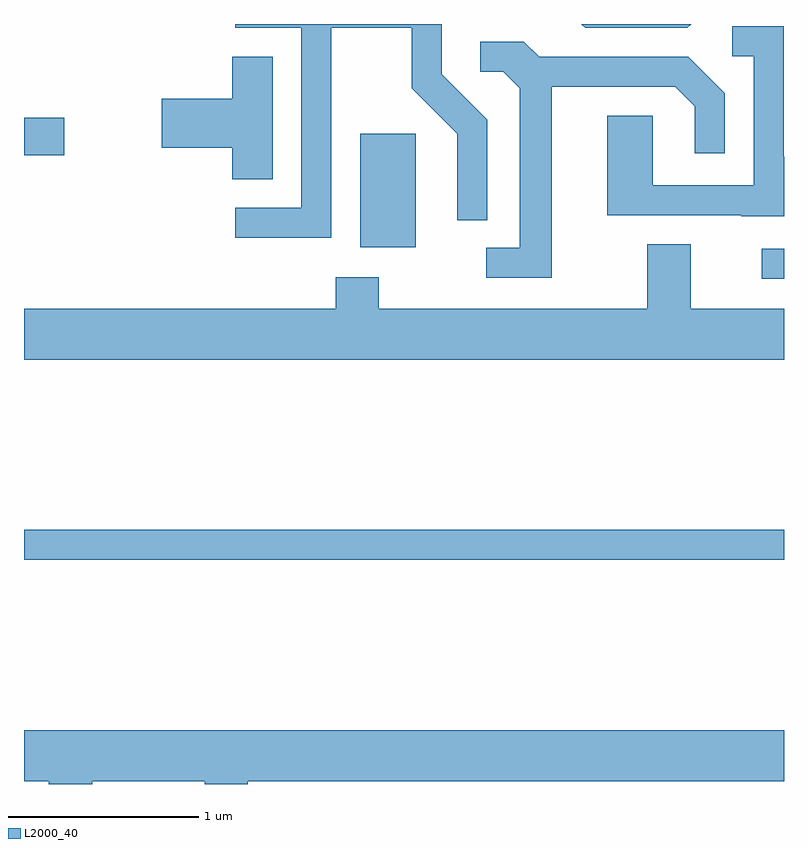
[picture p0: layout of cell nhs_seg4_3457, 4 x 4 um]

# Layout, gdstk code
import gdstk
lib = gdstk.Library(unit=1e-6, precision=1e-09)
def R(c, l, rs):  # rectangles x0, y0, x1, y1
    for r in rs: c.add(gdstk.rectangle(r[:2], r[2:], *l))
def P(c, l, *ps):  # polygons
    for p in ps: c.add(gdstk.Polygon(p, *l))
L2000_40 = (2000, 40)

nhs_seg4_3457 = lib.new_cell('nhs_seg4_3457')
R(nhs_seg4_3457, L2000_40, [(285.611,1369.161,289.611,1369.319), (289.493,1370.641,289.611,1370.799), (287.381,1370.806,287.674,1371.404), (285.611,1371.291,285.824,1371.489)])
P(nhs_seg4_3457, L2000_40, [(287.229,1371.961),(287.651,1371.961),(287.651,1371.644),(287.891,1371.404),(287.891,1370.948),(288.049,1370.948),(288.049,1371.477),(287.809,1371.717),(287.809,1371.982),(286.723,1371.982),(286.723,1371.961),(287.071,1371.961),(287.071,1371.014),(286.723,1371.014),(286.723,1370.856),(287.229,1370.856)],
  [(289.123,1371.982),(288.543,1371.982),(288.564,1371.961),(289.102,1371.961)],
  [(289.611,1371.284),(289.609,1371.284),(289.609,1371.969),(289.338,1371.969),(289.338,1371.811),(289.451,1371.811),(289.451,1371.134),(288.919,1371.134),(288.919,1371.499),(288.681,1371.499),(288.681,1370.976),(289.385,1370.976),(289.385,1370.971),(289.611,1370.971)],
  [(288.389,1371.651),(289.039,1371.651),(289.141,1371.549),(289.141,1371.303),(289.299,1371.303),(289.299,1371.617),(289.107,1371.809),(288.322,1371.809),(288.242,1371.889),(288.013,1371.889),(288.013,1371.731),(288.134,1371.731),(288.221,1371.644),(288.221,1370.804),(288.043,1370.804),(288.043,1370.646),(288.389,1370.646)],
  [(286.919,1371.809),(286.706,1371.809),(286.706,1371.589),(286.336,1371.589),(286.336,1371.331),(286.706,1371.331),(286.706,1371.166),(286.919,1371.166)],
  [(289.611,1370.484),(289.119,1370.484),(289.119,1370.824),(288.891,1370.824),(288.891,1370.484),(287.479,1370.484),(287.479,1370.649),(287.251,1370.649),(287.251,1370.484),(285.611,1370.484),(285.611,1370.216),(289.611,1370.216)],
  [(285.969,1367.996),(286.561,1367.996),(286.561,1367.982),(286.789,1367.982),(286.789,1367.996),(289.611,1367.996),(289.611,1368.264),(285.611,1368.264),(285.611,1367.996),(285.741,1367.996),(285.741,1367.982),(285.969,1367.982)])

lib.write_gds('nhs_seg4_3457.gds')
